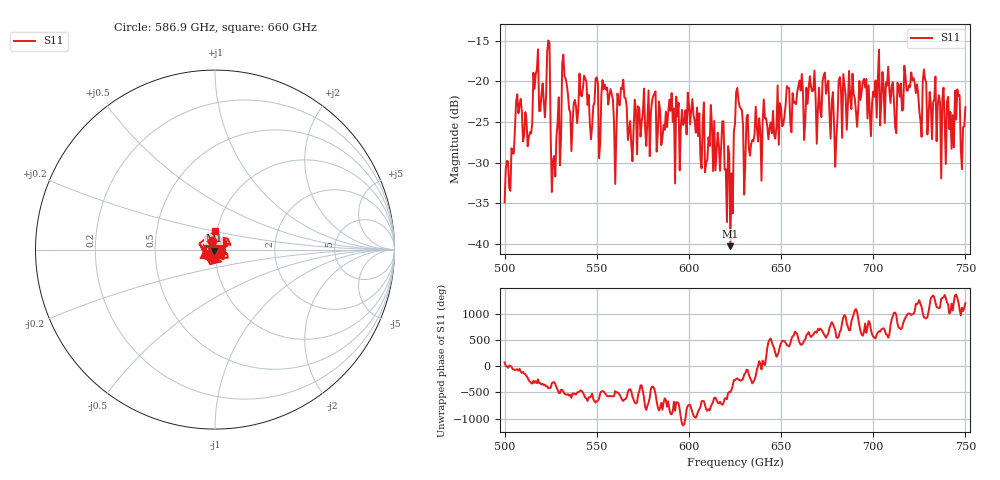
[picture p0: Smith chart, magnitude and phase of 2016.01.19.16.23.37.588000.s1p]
!Created with skrf (http://scikit-rf.org).
# GHz S RI R 50.0
!freq ReS11 ImS11
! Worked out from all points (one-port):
!   401 points, 500 GHz to 750 GHz, reference 50 ohm
!   lowest |S11| = -40.3 dB at 622.5 GHz (marker M1), VSWR 1.02, Z = 49.3 - j0.634 ohm
!   |S11| at or under -10 dB: start of sweep to end of sweep
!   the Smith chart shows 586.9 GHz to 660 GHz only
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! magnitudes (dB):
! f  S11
! 500 GHz  -34.9
! 507.5 GHz  -23.9
! 513.8 GHz  -26.3
! 516.9 GHz  -19.1
! 520.6 GHz  -20.3
! 523.8 GHz  -15.0
! 526.2 GHz  -29.8
! 531.2 GHz  -17.8
! 543.1 GHz  -19.3
! 547.5 GHz  -25.5
! 554.4 GHz  -20.4
! 560.6 GHz  -26.5
! 562.5 GHz  -23.0
! 568.1 GHz  -24.9
! 580.6 GHz  -21.8
! 593.8 GHz  -24.3
! 600.6 GHz  -25.3
! 618.8 GHz  -24.9
! 622.5 GHz  -40.3
! 625 GHz  -25.2
! 626.9 GHz  -22.4
! 631.2 GHz  -24.6
! 656.2 GHz  -21.5
! 674.4 GHz  -21.5
! 679.4 GHz  -30.5
! 687.5 GHz  -22.1
! 718.8 GHz  -21.1
! 750 GHz  -23.2
